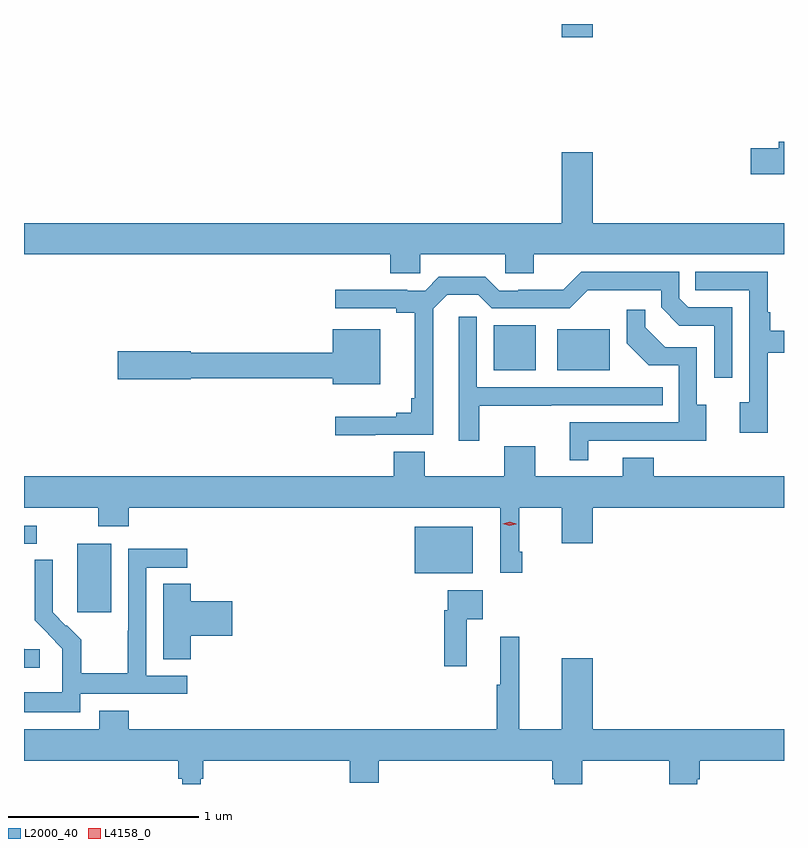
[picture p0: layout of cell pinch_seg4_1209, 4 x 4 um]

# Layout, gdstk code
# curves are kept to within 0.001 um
import gdstk
lib = gdstk.Library(unit=1e-6, precision=1e-09)
def R(c, l, rs):  # rectangles x0, y0, x1, y1
    for r in rs: c.add(gdstk.rectangle(r[:2], r[2:], *l))
def P(c, l, *ps):  # polygons
    for p in ps: c.add(gdstk.Polygon(p, *l))
L2000_40 = (2000, 40)
L4158_0 = (4158, 0)

pinch_seg4_1209 = lib.new_cell('pinch_seg4_1209')
R(pinch_seg4_1209, L2000_40, [(306.314,829.569,306.493,829.93), (308.09,829.775,308.395,830.02), (306.034,829.929,306.1,830.025), (308.507,830.843,308.728,831.079), (308.84,830.843,309.118,831.058), (308.864,832.596,309.028,832.665)])
P(pinch_seg4_1209, L2000_40, [(310.034,832.046),(310.007,832.046),(310.007,832.01),(309.858,832.01),(309.858,831.875),(310.034,831.875)],
  [(308.12,831.452),(308.567,831.452),(308.567,831.354),(308.716,831.354),(308.716,831.452),(310.034,831.452),(310.034,831.616),(309.028,831.616),(309.028,831.991),(308.864,831.991),(308.864,831.616),(306.034,831.616),(306.034,831.452),(307.961,831.452),(307.961,831.354),(308.12,831.354)],
  [(309.949,830.935),(310.034,830.935),(310.034,831.051),(309.961,831.051),(309.961,831.148),(309.948,831.148),(309.948,831.36),(309.568,831.36),(309.568,831.264),(309.852,831.264),(309.852,830.675),(309.801,830.675),(309.801,830.514),(309.949,830.514)],
  [(307.883,830.502),(308.188,830.502),(308.188,831.166),(308.261,831.239),(308.425,831.239),(308.496,831.168),(308.907,831.168),(309.002,831.263),(309.387,831.264),(309.387,831.174),(309.483,831.078),(309.666,831.078),(309.666,830.802),(309.762,830.802),(309.762,831.174),(309.531,831.174),(309.483,831.222),(309.483,831.36),(308.967,831.36),(308.873,831.266),(308.635,831.266),(308.635,831.261),(308.535,831.261),(308.462,831.334),(308.218,831.334),(308.145,831.261),(308.051,831.261),(308.051,831.266),(307.671,831.266),(307.671,831.168),(307.994,831.168),(307.994,831.146),(308.09,831.146),(308.09,830.695),(308.071,830.695),(308.071,830.618),(307.994,830.618),(307.994,830.599),(307.671,830.599),(307.671,830.501)],
  [(309.005,830.472),(309.625,830.472),(309.625,830.662),(309.576,830.662),(309.576,830.964),(309.409,830.964),(309.303,831.07),(309.303,831.161),(309.207,831.161),(309.207,830.984),(309.323,830.868),(309.48,830.868),(309.48,830.568),(308.906,830.568),(308.906,830.37),(309.005,830.37)],
  [(308.431,830.657),(308.81,830.657),(308.81,830.658),(309.395,830.658),(309.395,830.754),(308.418,830.754),(308.418,831.124),(308.321,831.124),(308.321,830.472),(308.431,830.472)],
  [(307.909,831.058),(307.658,831.058),(307.658,830.936),(306.912,830.936),(306.912,830.942),(306.528,830.942),(306.528,830.795),(306.912,830.795),(306.912,830.8),(307.658,830.8),(307.658,830.768),(307.909,830.768)],
  [(308.657,829.888),(308.64,829.888),(308.64,830.12),(308.864,830.12),(308.864,829.932),(309.028,829.932),(309.028,830.12),(310.034,830.12),(310.034,830.284),(309.349,830.284),(309.349,830.383),(309.185,830.383),(309.185,830.284),(308.725,830.284),(308.725,830.443),(308.561,830.443),(308.561,830.284),(308.143,830.284),(308.143,830.413),(307.979,830.413),(307.979,830.284),(306.034,830.284),(306.034,830.12),(306.424,830.12),(306.424,830.021),(306.584,830.021),(306.584,830.12),(308.54,830.12),(308.54,829.776),(308.657,829.776)],
  [(306.33,829.14),(306.892,829.14),(306.892,829.236),(306.678,829.236),(306.678,829.803),(306.892,829.803),(306.892,829.902),(306.582,829.902),(306.582,829.472),(306.58,829.472),(306.58,829.249),(306.335,829.249),(306.335,829.423),(306.258,829.5),(306.255,829.497),(306.185,829.568),(306.186,829.844),(306.09,829.844),(306.09,829.526),(306.236,829.378),(306.236,829.281),(306.234,829.281),(306.234,829.147),(306.034,829.147),(306.034,829.043),(306.33,829.043)],
  [(306.911,829.445),(307.129,829.445),(307.129,829.628),(306.911,829.628),(306.911,829.718),(306.767,829.718),(306.767,829.321),(306.911,829.321)],
  [(308.363,829.532),(308.449,829.532),(308.449,829.684),(308.265,829.684),(308.265,829.58),(308.245,829.58),(308.245,829.284),(308.363,829.284)],
  [(306.584,829.051),(306.431,829.051),(306.431,828.952),(306.034,828.952),(306.034,828.788),(306.847,828.788),(306.847,828.692),(306.866,828.692),(306.866,828.665),(306.963,828.665),(306.963,828.692),(306.977,828.692),(306.977,828.788),(307.748,828.788),(307.748,828.671),(307.901,828.671),(307.901,828.788),(308.813,828.788),(308.813,828.69),(308.825,828.69),(308.825,828.665),(308.973,828.665),(308.973,828.788),(309.43,828.788),(309.43,828.665),(309.577,828.665),(309.577,828.69),(309.59,828.69),(309.59,828.788),(310.034,828.788),(310.034,828.952),(309.028,828.952),(309.028,829.327),(308.864,829.327),(308.864,828.952),(308.64,828.952),(308.64,829.441),(308.54,829.441),(308.54,829.188),(308.521,829.188),(308.521,828.952),(306.584,828.952)],
  [(306.118,829.374),(306.036,829.374),(306.034,829.376),(306.034,829.277),(306.118,829.277)])
P(pinch_seg4_1209, L4158_0, [(308.589,830.024),(308.554,830.035),(308.554,830.035),(308.554,830.035),(308.59,830.044),(308.625,830.034),(308.626,830.033),(308.625,830.033)])

lib.write_gds('pinch_seg4_1209.gds')
